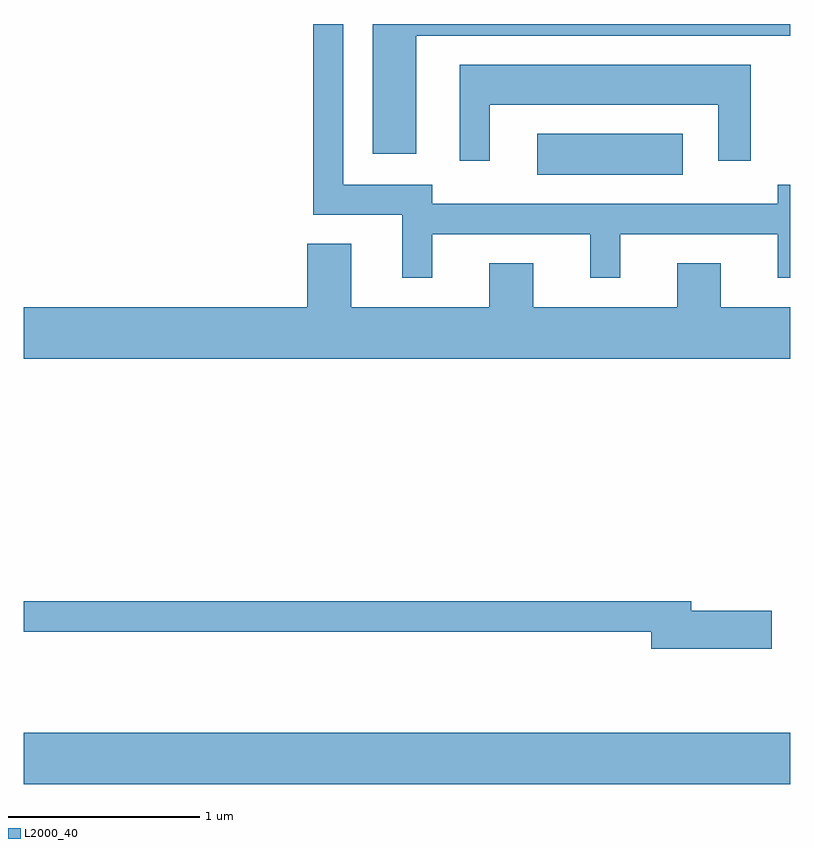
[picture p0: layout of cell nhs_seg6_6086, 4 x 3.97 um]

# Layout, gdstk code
import gdstk
lib = gdstk.Library(unit=1e-6, precision=1e-09)
def R(c, l, rs):  # rectangles x0, y0, x1, y1
    for r in rs: c.add(gdstk.rectangle(r[:2], r[2:], *l))
def P(c, l, *ps):  # polygons
    for p in ps: c.add(gdstk.Polygon(p, *l))
L2000_40 = (2000, 40)

nhs_seg6_6086 = lib.new_cell('nhs_seg6_6086')
R(nhs_seg6_6086, L2000_40, [(369.611,1612.196,373.611,1612.464), (372.291,1615.376,373.049,1615.589)])
P(nhs_seg6_6086, L2000_40, [(371.744,1615.066),(372.566,1615.066),(372.566,1614.838),(372.724,1614.838),(372.724,1615.066),(373.546,1615.066),(373.546,1614.838),(373.611,1614.838),(373.611,1615.324),(373.546,1615.324),(373.546,1615.224),(371.744,1615.224),(371.744,1615.324),(371.279,1615.324),(371.279,1616.162),(371.121,1616.162),(371.121,1615.166),(371.586,1615.166),(371.586,1614.838),(371.744,1614.838)],
  [(371.659,1616.101),(373.611,1616.101),(373.611,1616.162),(371.431,1616.162),(371.431,1615.486),(371.659,1615.486)],
  [(372.044,1615.741),(373.236,1615.741),(373.236,1615.448),(373.404,1615.448),(373.404,1615.949),(371.886,1615.949),(371.886,1615.448),(372.044,1615.448)],
  [(373.021,1614.914),(373.021,1614.684),(372.269,1614.684),(372.269,1614.914),(372.041,1614.914),(372.041,1614.684),(371.319,1614.684),(371.319,1615.014),(371.091,1615.014),(371.091,1614.684),(369.611,1614.684),(369.611,1614.416),(373.611,1614.416),(373.611,1614.684),(373.249,1614.684),(373.249,1614.914)],
  [(373.514,1613.099),(373.094,1613.099),(373.094,1613.149),(369.611,1613.149),(369.611,1612.991),(372.886,1612.991),(372.886,1612.901),(373.514,1612.901)])

lib.write_gds('nhs_seg6_6086.gds')
